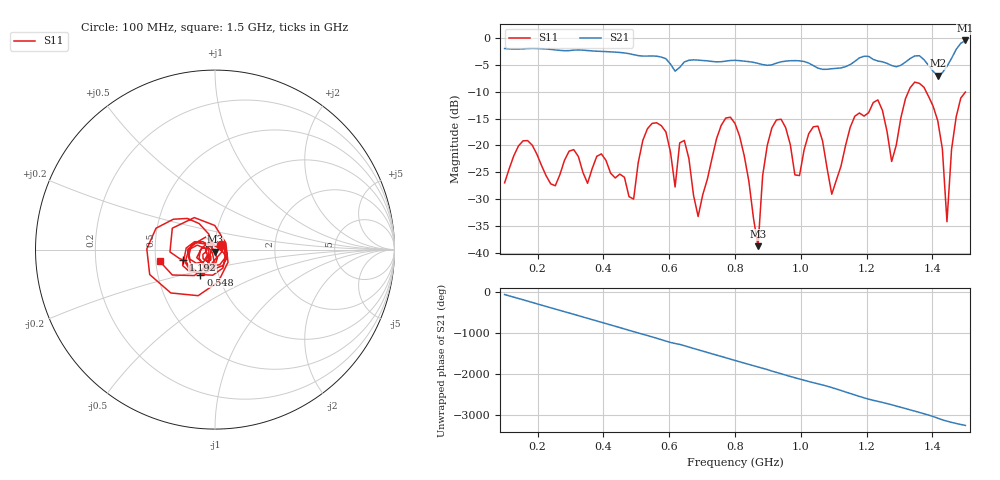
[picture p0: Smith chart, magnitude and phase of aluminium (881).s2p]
! NanoVNA-App
! Date: 2025-09-25 15:02:08
! Start: 100MHz Stop: 1,5GHz Points: 101
! S-Parameter data: F S11 S21 S12 S22
# Hz S RI R 50
!  Frequency  S11_Real  S11_Imag  S21_Real  S21_Imag  S12_Real  S12_Imag  S22_Real  S22_Imag
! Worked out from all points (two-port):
!   101 points, 100 MHz to 1.5 GHz, reference 50 ohm
!   highest |S21| = -0.41 dB at 1.5 GHz (marker M1); lowest = -7.0 dB at 1.416 GHz (marker M2)
!   |S21| within 3 dB of the highest: start of sweep to 567.9 MHz; 1.461 GHz to end of sweep (the widest 2 of 4)
!   lowest |S11| = -38.8 dB at 870 MHz (marker M3), VSWR 1.02, Z = 50 - j1.15 ohm
!   |S11| at or under -10 dB: start of sweep to 1.327 GHz; 1.381 GHz to end of sweep
!   S12 and S22 are empty: the file has one direction only
!   S11 on the Smith chart (normalised r, x): 100 MHz: 1.07, +0.06; 548 MHz: 0.82, -0.23; 1.192 GHz: 0.69, -0.08; 1.5 GHz: 0.53, -0.08
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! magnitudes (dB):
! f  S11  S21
! 100 MHz  -27.0  -1.9
! 156 MHz  -19.1  -2.0
! 338 MHz  -25.0  -2.2
! 492 MHz  -30.0  -3.1
! 548 MHz  -15.9  -3.3
! 576 MHz  -16.3  -3.5
! 618 MHz  -27.7  -6.1
! 646 MHz  -19.1  -4.4
! 688 MHz  -33.3  -4.1
! 800 MHz  -15.9  -4.1
! 870 MHz  -38.8  -4.7
! 912 MHz  -16.7  -5.0
! 996 MHz  -25.6  -4.2
! 1.038 GHz  -16.5  -5.1
! 1.094 GHz  -29.1  -5.7
! 1.192 GHz  -14.5  -3.4
! 1.276 GHz  -23.0  -5.1
! 1.346 GHz  -8.2  -3.3
! 1.416 GHz  -15.4  -7.0
! 1.444 GHz  -34.2  -5.3
! 1.458 GHz  -20.7  -3.8
! 1.5 GHz  -10.0  -0.4
